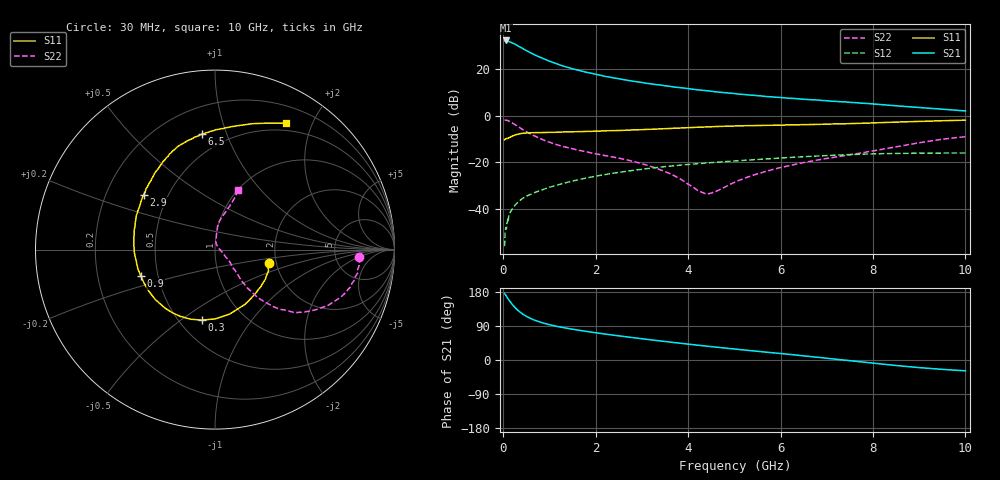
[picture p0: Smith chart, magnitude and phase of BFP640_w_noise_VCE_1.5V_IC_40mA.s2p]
! Infineon Technologies  Discrete & RF Semiconductors
! BFP640
! VCE =  1.5 V,  IC =  40 mA
! Common Emitter S-Parameters:  Apr 2013
# GHz  S  MA  R  50
!  f  S11  S21  S12  S22
! GHz  MAG  ANG  MAG  ANG  MAG  ANG  MAG  ANG
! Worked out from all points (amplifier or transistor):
!   99 points, 30 MHz to 10 GHz, reference 50 ohm
!   highest |S21| = 32.3 dB at 50 MHz (marker M1)
!   |S21| within 3 dB of that: start of sweep to 380.2 MHz
!   unconditionally stable (mu >= 1): start of sweep to 70.4 MHz; 1.178 GHz to end of sweep
!   at 350 MHz: K = 0.63, MSG = 33.1 dB, |S12| = -36.5 dB
!   at 3.5 GHz: K = 1.14, MAG = 15.1 dB, |S12| = -21.8 dB
!   at 10 GHz: K = 1.13, MAG = 6.8 dB, |S12| = -15.9 dB
!   lowest NFmin = 1.25 dB at 450 MHz
!   S11 on the Smith chart (normalised r, x): 30 MHz: 1.82, -0.29; 300 MHz: 0.64, -0.60; 900 MHz: 0.40, -0.14; 2.9 GHz: 0.37, +0.30; 6.5 GHz: 0.37, +0.82; 10 GHz: 0.40, +1.63
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0.03  0.3075 -13.6  40.25 175.3  0.0016 64.1  0.803 -2.9
0.04  0.31 -17.8  40.3 173.8  0.0031 64.7  0.8076 -4.5
0.05  0.3212 -21.7  41.38 172.3  0.0037 70.1  0.8083 -6.2
0.09  0.3283 -38.8  40.55 164.1  0.0053 66.3  0.7962 -12.2
0.15  0.3482 -61.6  38.46 154.0  0.0085 68.4  0.7498 -20.7
0.2  0.3684 -77.2  36.37 145.9  0.0103 66.2  0.7011 -26.4
0.25  0.3859 -89.7  34.63 139.2  0.0119 65.0  0.6529 -30.9
0.3  0.3998 -100.5  32.43 133.0  0.0135 63.6  0.6087 -34.8
0.45  0.4245 -123.9  26.8 118.8  0.0177 59.7  0.4914 -42.6
0.6  0.4338 -140.1  22.3 109.1  0.0208 58.7  0.4018 -46.5
0.7  0.4355 -148.1  19.93 104.1  0.023 58.1  0.3618 -48.2
0.9  0.4387 -160.6  16.37 96.3  0.0271 58.3  0.2954 -49.5
1.3  0.4505 -178.6  11.66 85.5  0.0356 58.2  0.2187 -49.0
1.7  0.4589 168.9  9.115 77.3  0.0442 56.8  0.1769 -46.8
2.2  0.4776 156.6  7.033 68.5  0.0548 53.8  0.1404 -45.2
2.9  0.5017 142.4  5.354 57.6  0.0693 48.7  0.1003 -38.6
3.4  0.5233 133.3  4.584 50.3  0.0795 44.5  0.0695 -33.7
5.1  0.6105 109.9  2.916 27.8  0.1092 30.1  0.0412 83.0
6.5  0.6482 96.5  2.261 10.9  0.1329 18.0  0.0992 84.1
6.7  0.6532 94.4  2.198 8.4  0.1359 16.1  0.1082 84.1
8.5  0.7336 73.1  1.641 -14.5  0.1561 -1.8  0.216 74.4
10  0.8076 60.8  1.275 -28.6  0.16 -13.0  0.357 69.0
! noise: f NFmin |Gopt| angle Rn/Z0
0.45  1.25  0.25  -170  0.05
0.9  1.25  0.28  -159  0.07
1.5  1.26  0.31  -145  0.09
1.9  1.29  0.32  222  0.12
2.4  1.34  0.33  -124  0.14
3.5  1.46  0.38  -107  0.17
5.5  1.67  0.42  -91  0.26
10  2.15  0.63  -49  0.74
